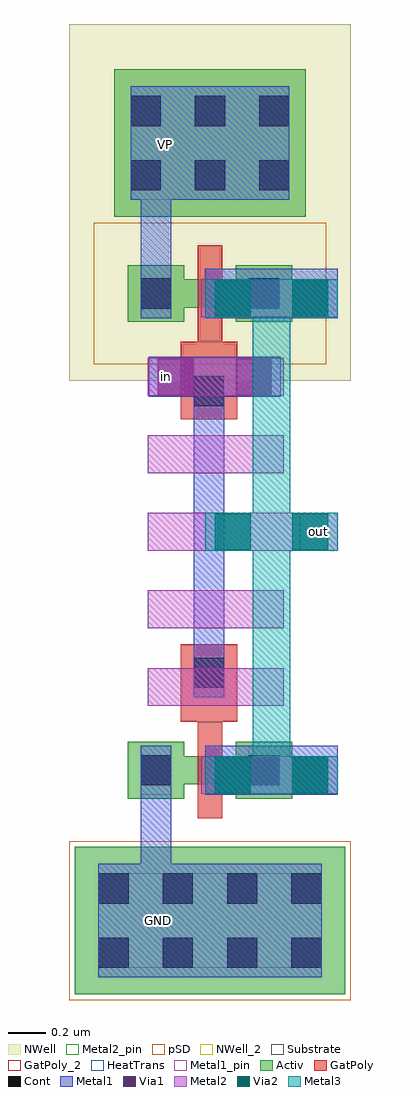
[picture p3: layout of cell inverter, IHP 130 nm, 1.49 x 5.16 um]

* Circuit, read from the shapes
.subckt inverter GND VP in out
XM1 out in GND GND sg13_lv_nmos w=0.15u l=0.13u
XM2 out in VP VP sg13_lv_pmos w=0.15u l=0.13u
.ends

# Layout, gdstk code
from math import pi, radians
import gdstk
lib = gdstk.Library(unit=1e-6, precision=1e-09)
def R(c, l, rs):  # rectangles x0, y0, x1, y1
    for r in rs: c.add(gdstk.rectangle(r[:2], r[2:], *l))
def A(c, l, x, y, w, h, nx, ny, dx, dy):  # array of equal rectangles
    R(c, l, [(x+i*dx, y+j*dy, x+i*dx+w, y+j*dy+h) for i in range(nx) for j in range(ny)])
Activ = (1, 0)
GatPoly = (5, 0)
GatPoly_2 = (5, 2)
Cont = (6, 0)
Metal1 = (8, 0)
Metal1_pin = (8, 2)
Metal2 = (10, 0)
Metal2_pin = (10, 2)
pSD = (14, 0)
Via1 = (19, 0)
Via2 = (29, 0)
Metal3 = (30, 0)
NWell = (31, 0)
NWell_2 = (31, 2)
Substrate = (40, 0)
HeatTrans = (51, 0)

via_4_1_1 = lib.new_cell('Via$4$1$1')
R(via_4_1_1, Metal2, [(-0.1,-0.35,0.1,0.35)])
R(via_4_1_1, Via2, [(-0.095,-0.3,0.095,-0.11), (-0.095,0.11,0.095,0.3)])
R(via_4_1_1, Metal3, [(-0.1,-0.35,0.1,0.35)])

ntap1_1_1 = lib.new_cell('ntap1$1$1')
R(ntap1_1_1, Activ, [(0,0,1.01,0.78)])
A(ntap1_1_1, Cont, 0.085, 0.14, 0.16, 0.16, 3, 2, 0.34, 0.34)
R(ntap1_1_1, Metal1, [(0.085,0.09,0.925,0.69)])
R(ntap1_1_1, Metal1_pin, [(0.085,0.09,0.925,0.69), (0.085,0.14,0.925,0.64)])
R(ntap1_1_1, NWell, [(-0.24,-0.24,1.25,1.02), (0,0,1.01,0.78)])
R(ntap1_1_1, NWell_2, [(0,0,1.01,0.78)])
ntap1_1_1.add(gdstk.Label('well', (0.505,0.01), layer=63, texttype=0))
ntap1_1_1.add(gdstk.Label('well', (0.505,0.01), layer=31, texttype=0))

ptap1_2_1 = lib.new_cell('ptap1$2$1')
R(ptap1_2_1, Activ, [(0,0,1.43,0.78)])
A(ptap1_2_1, Cont, 0.125, 0.14, 0.16, 0.16, 4, 2, 0.34, 0.34)
R(ptap1_2_1, Metal1, [(0.125,0.09,1.305,0.69), (0.125,0.14,1.305,0.64)])
R(ptap1_2_1, Metal1_pin, [(0.125,0.14,1.305,0.64)])
R(ptap1_2_1, pSD, [(-0.03,-0.03,1.46,0.81)])
R(ptap1_2_1, Substrate, [(0,0,1.43,0.78)])
ptap1_2_1.add(gdstk.Label('sub!', (0.715,0.01), layer=63, texttype=0))
ptap1_2_1.add(gdstk.Label('sub!', (0.715,0.01), layer=40, texttype=0))

via_2_1_1 = lib.new_cell('Via$2$1$1')
R(via_2_1_1, Metal1, [(-0.105,-0.35,0.105,0.35)])
R(via_2_1_1, Metal2, [(-0.1,-0.35,0.1,0.35)])
R(via_2_1_1, Via1, [(-0.095,-0.3,0.095,-0.11), (-0.095,0.11,0.095,0.3)])

nmos_1_1 = lib.new_cell('nmos$1$1')
R(nmos_1_1, Activ, [(0,0,0.3,0.3), (0.57,0,0.87,0.3), (0,0.075,0.87,0.225)])
R(nmos_1_1, GatPoly, [(0.37,-0.105,0.5,0.405)])
R(nmos_1_1, GatPoly_2, [(0.37,-0.105,0.5,0.405)])
R(nmos_1_1, Cont, [(0.07,0.07,0.23,0.23), (0.64,0.07,0.8,0.23)])
R(nmos_1_1, Metal1, [(0.07,0.02,0.23,0.28), (0.64,0.02,0.8,0.28)])
R(nmos_1_1, Metal1_pin, [(0.07,0.02,0.23,0.28), (0.64,0.02,0.8,0.28)])
R(nmos_1_1, HeatTrans, [(0.37,-0.105,0.5,0.405)])
nmos_1_1.add(gdstk.Label('nmos', (0.435,0.15), layer=63, texttype=0))
nmos_1_1.add(gdstk.Label('nmos', (0.435,0.15), layer=51, texttype=0))

pmos_1_1 = lib.new_cell('pmos$1$1')
R(pmos_1_1, Activ, [(0,0,0.3,0.3), (0.57,0,0.87,0.3), (0,0.075,0.87,0.225)])
R(pmos_1_1, GatPoly, [(0.37,-0.105,0.5,0.405), (0.37,-0.105,0.5,0.405)])
R(pmos_1_1, Cont, [(0.07,0.07,0.23,0.23), (0.64,0.07,0.8,0.23)])
R(pmos_1_1, Metal1, [(0.07,0.02,0.23,0.28), (0.07,0.02,0.23,0.28), (0.64,0.02,0.8,0.28), (0.64,0.02,0.8,0.28)])
R(pmos_1_1, pSD, [(-0.18,-0.225,1.05,0.525)])
R(pmos_1_1, NWell, [(-0.31,-0.31,1.18,0.61)])
R(pmos_1_1, Substrate, [(0.57,0,0.87,0.3)])
R(pmos_1_1, HeatTrans, [(0.37,-0.105,0.5,0.405)])
pmos_1_1.add(gdstk.Label('pmos', (0.435,0.15), layer=63, texttype=0))
pmos_1_1.add(gdstk.Label('pmos', (0.435,0.15), layer=51, texttype=0))

via_13 = lib.new_cell('Via$13')
R(via_13, GatPoly, [(-0.15,-0.15,0.15,0.15)])
R(via_13, Cont, [(-0.08,-0.08,0.08,0.08)])
R(via_13, Metal1, [(-0.13,-0.08,0.13,0.08)])

via_7 = lib.new_cell('Via$7')
R(via_7, Metal2, [(-0.35,-0.1,0.35,0.1)])
R(via_7, Via2, [(-0.3,-0.095,-0.11,0.095), (0.11,-0.095,0.3,0.095)])
R(via_7, Metal3, [(-0.35,-0.1,0.35,0.1)])

inverter = lib.new_cell('inverter')
R(inverter, GatPoly, [(9.375,7.165,9.675,7.275), (9.375,9.065,9.675,9.175)])
R(inverter, Metal1, [(9.505,6.78,10.205,7.04), (9.505,9.3,10.205,9.56)])
R(inverter, Metal1_pin, [(9.16,6.015,9.36,6.215), (9.325,10.12,9.525,10.32)])
R(inverter, Metal2_pin, [(10.005,8.07,10.205,8.27), (9.2,8.89,9.4,9.09)])
inverter.add(gdstk.FlexPath([(9.245,9.56),(9.245,10.525)], 0.16, ends="flush", simple_path=True, layer=8, datatype=0))  # Metal1
inverter.add(gdstk.FlexPath([(9.245,6.78),(9.245,6.415)], 0.16, ends="flush", simple_path=True, layer=8, datatype=0))  # Metal1
inverter.add(gdstk.FlexPath([(9.525,7.555),(9.525,8.785)], 0.16, ends="flush", simple_path=True, layer=8, datatype=0))  # Metal1
inverter.add(gdstk.FlexPath([(9.65,9.405),(9.485,9.405)], 0.2, ends="flush", simple_path=True, layer=10, datatype=0))  # Metal2
inverter.add(gdstk.FlexPath([(9.65,6.885),(9.485,6.885)], 0.2, ends="flush", simple_path=True, layer=10, datatype=0))  # Metal2
inverter.add(gdstk.FlexPath([(9.2,8.99),(9.92,8.99)], 0.2, ends="flush", simple_path=True, layer=10, datatype=0))  # Metal2
inverter.add(gdstk.FlexPath([(9.2,8.58),(9.92,8.58)], 0.2, ends="flush", simple_path=True, layer=10, datatype=0))  # Metal2
inverter.add(gdstk.FlexPath([(9.2,7.76),(9.92,7.76)], 0.2, ends="flush", simple_path=True, layer=10, datatype=0))  # Metal2
inverter.add(gdstk.FlexPath([(9.2,7.35),(9.92,7.35)], 0.2, ends="flush", simple_path=True, layer=10, datatype=0))  # Metal2
inverter.add(gdstk.FlexPath([(9.2,8.17),(10.205,8.17)], 0.2, ends="flush", simple_path=True, layer=10, datatype=0))  # Metal2
inverter.add(gdstk.FlexPath([(9.855,6.885),(9.855,8.17)], 0.2, ends="flush", simple_path=True, layer=30, datatype=0))  # Metal3
inverter.add(gdstk.FlexPath([(9.855,9.405),(9.855,8.17)], 0.2, ends="flush", simple_path=True, layer=30, datatype=0))  # Metal3
inverter.add(gdstk.Reference(via_4_1_1, (9.855,6.885), rotation=3*pi/2))
inverter.add(gdstk.Reference(ntap1_1_1, (9.025,9.835)))
inverter.add(gdstk.Reference(ptap1_2_1, (8.815,5.725)))
inverter.add(gdstk.Reference(via_2_1_1, (9.855,6.885), rotation=3*pi/2))
inverter.add(gdstk.Reference(nmos_1_1, (9.095,6.76)))
inverter.add(gdstk.Reference(pmos_1_1, (9.095,9.28)))
inverter.add(gdstk.Reference(via_13, (9.525,8.915), rotation=pi/2))
inverter.add(gdstk.Reference(via_13, (9.525,7.425), rotation=3*pi/2))
inverter.add(gdstk.Reference(via_4_1_1, (9.855,9.405), rotation=3*pi/2))
inverter.add(gdstk.Reference(via_2_1_1, (9.555,8.99), rotation=3*pi/2))
inverter.add(gdstk.Reference(via_2_1_1, (9.855,9.405), rotation=3*pi/2))
inverter.add(gdstk.Reference(via_7, (9.855,8.17)))
inverter.add(gdstk.Label('out', (10.105,8.17), layer=10, texttype=25))
inverter.add(gdstk.Label('in', (9.3,8.99), layer=10, texttype=25))
inverter.add(gdstk.Label('VP', (9.295,10.22), layer=8, texttype=25))
inverter.add(gdstk.Label('GND', (9.26,6.115), layer=8, texttype=25))

lib.write_gds('inverter.gds')
